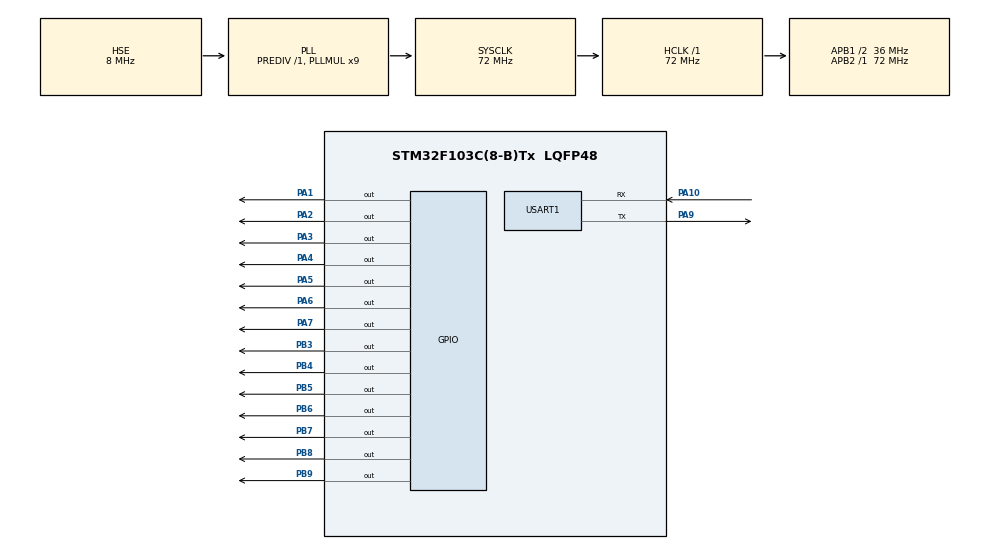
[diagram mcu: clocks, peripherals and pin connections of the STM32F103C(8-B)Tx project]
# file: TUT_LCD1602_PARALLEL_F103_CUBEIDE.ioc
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Dma.Request0=USART1_RX
Dma.USART1_RX.0.Direction=DMA_PERIPH_TO_MEMORY
Dma.USART1_RX.0.Instance=DMA1_Channel5
Dma.USART1_RX.0.MemDataAlignment=DMA_MDATAALIGN_BYTE
Dma.USART1_RX.0.MemInc=DMA_MINC_ENABLE
Dma.USART1_RX.0.Mode=DMA_CIRCULAR
Dma.USART1_RX.0.PeriphDataAlignment=DMA_PDATAALIGN_BYTE
Dma.USART1_RX.0.PeriphInc=DMA_PINC_DISABLE
Dma.USART1_RX.0.Priority=DMA_PRIORITY_LOW
Mcu.Family=STM32F1
Mcu.Name=STM32F103C(8-B)Tx
Mcu.Package=LQFP48
NVIC.DMA1_Channel5_IRQn=true\:0\:0\:false\:false\:true\:false\:true\:true
NVIC.PriorityGroup=NVIC_PRIORITYGROUP_4
PA1.Signal=GPIO_Output
PA10.Mode=Asynchronous
PA10.Signal=USART1_RX
PA13.Mode=Serial_Wire
PA13.Signal=SYS_JTMS-SWDIO
PA14.Mode=Serial_Wire
PA14.Signal=SYS_JTCK-SWCLK
PA2.Signal=GPIO_Output
PA3.Signal=GPIO_Output
PA4.Signal=GPIO_Output
PA5.Signal=GPIO_Output
PA6.Signal=GPIO_Output
PA7.Signal=GPIO_Output
PA9.Mode=Asynchronous
PA9.Signal=USART1_TX
PB3.Signal=GPIO_Output
PB4.Signal=GPIO_Output
PB5.Signal=GPIO_Output
PB6.Signal=GPIO_Output
PB7.Signal=GPIO_Output
PB8.Signal=GPIO_Output
PB9.Signal=GPIO_Output
PD0-OSC_IN.Mode=HSE-External-Oscillator
PD0-OSC_IN.Signal=RCC_OSC_IN
PD1-OSC_OUT.Mode=HSE-External-Oscillator
PD1-OSC_OUT.Signal=RCC_OSC_OUT
ProjectManager.HeapSize=0x200
ProjectManager.StackSize=0x400
ProjectManager.TargetToolchain=STM32CubeIDE
RCC.AHBFreq_Value=72000000
RCC.APB1CLKDivider=RCC_HCLK_DIV2
RCC.APB1Freq_Value=36000000
RCC.APB1TimFreq_Value=72000000
RCC.APB2Freq_Value=72000000
RCC.APB2TimFreq_Value=72000000
RCC.HCLKFreq_Value=72000000
RCC.PLLMUL=RCC_PLL_MUL9
RCC.PLLSourceVirtual=RCC_PLLSOURCE_HSE
RCC.SYSCLKFreq_VALUE=72000000
RCC.SYSCLKSource=RCC_SYSCLKSOURCE_PLLCLK
RCC.USBFreq_Value=72000000
TIM1.Period=0xffff-1
TIM1.Prescaler=72-1
USART1.VirtualMode=VM_ASYNC
VP_TIM1_VS_ClockSourceINT.Mode=Internal
board=custom

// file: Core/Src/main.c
/* USER CODE BEGIN Header */
/**
  ******************************************************************************
  * @file           : main.c
  * @brief          : Main program body
  ******************************************************************************
  * @attention
  *
  * <h2><center>&copy; Copyright (c) 2020 STMicroelectronics.
  * All rights reserved.</center></h2>
  *
  * This software component is licensed by ST under BSD 3-Clause license,
  * the "License"; You may not use this file except in compliance with the
  * License. You may obtain a copy of the License at:
  *                        opensource.org/licenses/BSD-3-Clause
  *
  ******************************************************************************
  */
/* USER CODE END Header */

#include "main.h"

/* USER CODE BEGIN Includes */
#include "LCD1602.h"
#include <stdio.h>
#include <string.h>

/* USER CODE END Includes */

/* USER CODE BEGIN PD */
#define MAX_MSG 8

/* USER CODE END PD */

TIM_HandleTypeDef htim1;

UART_HandleTypeDef huart1;
DMA_HandleTypeDef hdma_usart1_rx;

void SystemClock_Config(void);
static void MX_GPIO_Init(void);
static void MX_DMA_Init(void);
static void MX_TIM1_Init(void);
static void MX_USART1_UART_Init(void);

/* USER CODE BEGIN 0 */

int row=0;
int col=0;

/* USER CODE END 0 */

int main(void)
{

  /* MCU Configuration--------------------------------------------------------*/

  /* Reset of all peripherals, Initializes the Flash interface and the Systick. */
  HAL_Init();

  /* Configure the system clock */
  SystemClock_Config();

  /* Initialize all configured peripherals */
  MX_GPIO_Init();
  MX_DMA_Init();
  MX_TIM1_Init();
  MX_USART1_UART_Init();
  /* USER CODE BEGIN 2 */

  /*void HAL_UART_RxHalfCpltCallback(UART_HandleTypeDef *huart)
  {
  	HAL_UART_Receive_DMA(&huart1, rx_msg, 2);
  }*/

  HAL_TIM_Base_Start(&htim1);
  lcd_clear();
  lcd_put_cur(0, 0);
  lcd_send_string("HELLO ");
  lcd_send_string("WORLD ");
  lcd_send_string("FROM");

  lcd_put_cur(1, 0);
  lcd_send_string("CONTROLLERS TECH");
  HAL_Delay(3000);
  lcd_clear();

  /* USER CODE END 2 */

  /* Infinite loop */
  while (1)
  {

  }
}

void SystemClock_Config(void)
{
  RCC_OscInitTypeDef RCC_OscInitStruct = {0};
  RCC_ClkInitTypeDef RCC_ClkInitStruct = {0};

  /** Initializes the CPU, AHB and APB busses clocks
  */
  RCC_OscInitStruct.OscillatorType = RCC_OSCILLATORTYPE_HSE;
  RCC_OscInitStruct.HSEState = RCC_HSE_ON;
  RCC_OscInitStruct.HSEPredivValue = RCC_HSE_PREDIV_DIV1;
  RCC_OscInitStruct.HSIState = RCC_HSI_ON;
  RCC_OscInitStruct.PLL.PLLState = RCC_PLL_ON;
  RCC_OscInitStruct.PLL.PLLSource = RCC_PLLSOURCE_HSE;
  RCC_OscInitStruct.PLL.PLLMUL = RCC_PLL_MUL9;
  if (HAL_RCC_OscConfig(&RCC_OscInitStruct) != HAL_OK)
  {
    Error_Handler();
  }
  /** Initializes the CPU, AHB and APB busses clocks
  */
  RCC_ClkInitStruct.ClockType = RCC_CLOCKTYPE_HCLK|RCC_CLOCKTYPE_SYSCLK
                              |RCC_CLOCKTYPE_PCLK1|RCC_CLOCKTYPE_PCLK2;
  RCC_ClkInitStruct.SYSCLKSource = RCC_SYSCLKSOURCE_PLLCLK;
  RCC_ClkInitStruct.AHBCLKDivider = RCC_SYSCLK_DIV1;
  RCC_ClkInitStruct.APB1CLKDivider = RCC_HCLK_DIV2;
  RCC_ClkInitStruct.APB2CLKDivider = RCC_HCLK_DIV1;

  if (HAL_RCC_ClockConfig(&RCC_ClkInitStruct, FLASH_LATENCY_2) != HAL_OK)
  {
    Error_Handler();
  }
}

static void MX_TIM1_Init(void)
{

  TIM_ClockConfigTypeDef sClockSourceConfig = {0};
  TIM_MasterConfigTypeDef sMasterConfig = {0};

  htim1.Instance = TIM1;
  htim1.Init.Prescaler = 72-1;
  htim1.Init.CounterMode = TIM_COUNTERMODE_UP;
  htim1.Init.Period = 0xffff-1;
  htim1.Init.ClockDivision = TIM_CLOCKDIVISION_DIV1;
  htim1.Init.RepetitionCounter = 0;
  htim1.Init.AutoReloadPreload = TIM_AUTORELOAD_PRELOAD_DISABLE;
  if (HAL_TIM_Base_Init(&htim1) != HAL_OK)
  {
    Error_Handler();
  }
  sClockSourceConfig.ClockSource = TIM_CLOCKSOURCE_INTERNAL;
  if (HAL_TIM_ConfigClockSource(&htim1, &sClockSourceConfig) != HAL_OK)
  {
    Error_Handler();
  }
  sMasterConfig.MasterOutputTrigger = TIM_TRGO_RESET;
  sMasterConfig.MasterSlaveMode = TIM_MASTERSLAVEMODE_DISABLE;
  if (HAL_TIMEx_MasterConfigSynchronization(&htim1, &sMasterConfig) != HAL_OK)
  {
    Error_Handler();
  }

}

static void MX_USART1_UART_Init(void)
{

  huart1.Instance = USART1;
  huart1.Init.BaudRate = 115200;
  huart1.Init.WordLength = UART_WORDLENGTH_8B;
  huart1.Init.StopBits = UART_STOPBITS_1;
  huart1.Init.Parity = UART_PARITY_NONE;
  huart1.Init.Mode = UART_MODE_TX_RX;
  huart1.Init.HwFlowCtl = UART_HWCONTROL_NONE;
  huart1.Init.OverSampling = UART_OVERSAMPLING_16;
  if (HAL_UART_Init(&huart1) != HAL_OK)
  {
    Error_Handler();
  }

}

static void MX_DMA_Init(void)
{

  /* DMA controller clock enable */
  __HAL_RCC_DMA1_CLK_ENABLE();

  /* DMA interrupt init */
  /* DMA1_Channel5_IRQn interrupt configuration */
  HAL_NVIC_SetPriority(DMA1_Channel5_IRQn, 0, 0);
  HAL_NVIC_EnableIRQ(DMA1_Channel5_IRQn);

}

static void MX_GPIO_Init(void)
{
  GPIO_InitTypeDef GPIO_InitStruct = {0};

  /* GPIO Ports Clock Enable */
  __HAL_RCC_GPIOD_CLK_ENABLE();
  __HAL_RCC_GPIOA_CLK_ENABLE();
  __HAL_RCC_GPIOB_CLK_ENABLE();

  /*Configure GPIO pin Output Level */
  HAL_GPIO_WritePin(GPIOA, GPIO_PIN_1|GPIO_PIN_2|GPIO_PIN_3|GPIO_PIN_4
                          |GPIO_PIN_5|GPIO_PIN_6|GPIO_PIN_7, GPIO_PIN_RESET);

  /*Configure GPIO pin Output Level */
  HAL_GPIO_WritePin(GPIOB, GPIO_PIN_3|GPIO_PIN_4|GPIO_PIN_5|GPIO_PIN_6
                          |GPIO_PIN_7|GPIO_PIN_8|GPIO_PIN_9, GPIO_PIN_RESET);

  /*Configure GPIO pins : PA1 PA2 PA3 PA4
                           PA5 PA6 PA7 */
  GPIO_InitStruct.Pin = GPIO_PIN_1|GPIO_PIN_2|GPIO_PIN_3|GPIO_PIN_4
                          |GPIO_PIN_5|GPIO_PIN_6|GPIO_PIN_7;
  GPIO_InitStruct.Mode = GPIO_MODE_OUTPUT_PP;
  GPIO_InitStruct.Pull = GPIO_NOPULL;
  GPIO_InitStruct.Speed = GPIO_SPEED_FREQ_LOW;
  HAL_GPIO_Init(GPIOA, &GPIO_InitStruct);

  /*Configure GPIO pins : PB3 PB4 PB5 PB6
                           PB7 PB8 PB9 */
  GPIO_InitStruct.Pin = GPIO_PIN_3|GPIO_PIN_4|GPIO_PIN_5|GPIO_PIN_6
                          |GPIO_PIN_7|GPIO_PIN_8|GPIO_PIN_9;
  GPIO_InitStruct.Mode = GPIO_MODE_OUTPUT_PP;
  GPIO_InitStruct.Pull = GPIO_NOPULL;
  GPIO_InitStruct.Speed = GPIO_SPEED_FREQ_LOW;
  HAL_GPIO_Init(GPIOB, &GPIO_InitStruct);

}

void Error_Handler(void)
{
}

/************************ (C) COPYRIGHT STMicroelectronics *****END OF FILE****/
